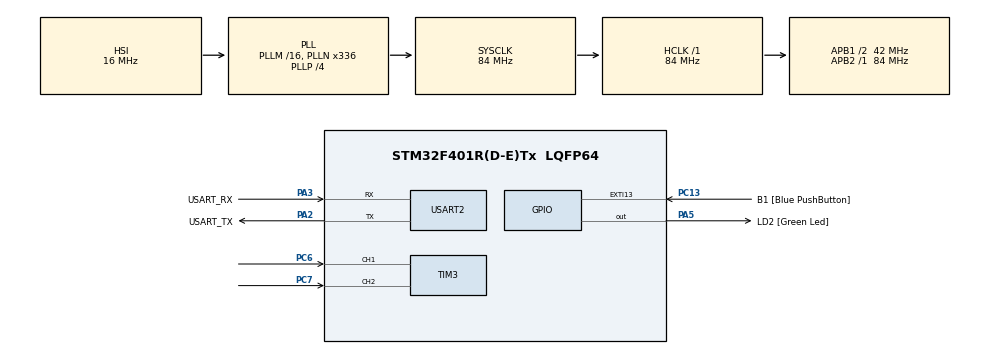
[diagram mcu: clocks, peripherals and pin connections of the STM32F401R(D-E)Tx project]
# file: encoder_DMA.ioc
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Dma.Request0=USART2_TX
Dma.USART2_TX.0.Direction=DMA_MEMORY_TO_PERIPH
Dma.USART2_TX.0.FIFOMode=DMA_FIFOMODE_DISABLE
Dma.USART2_TX.0.Instance=DMA1_Stream6
Dma.USART2_TX.0.MemDataAlignment=DMA_MDATAALIGN_BYTE
Dma.USART2_TX.0.MemInc=DMA_MINC_ENABLE
Dma.USART2_TX.0.Mode=DMA_NORMAL
Dma.USART2_TX.0.PeriphDataAlignment=DMA_PDATAALIGN_BYTE
Dma.USART2_TX.0.PeriphInc=DMA_PINC_DISABLE
Dma.USART2_TX.0.Priority=DMA_PRIORITY_LOW
Mcu.Family=STM32F4
Mcu.Name=STM32F401R(D-E)Tx
Mcu.Package=LQFP64
NVIC.DMA1_Stream6_IRQn=true\:0\:0\:false\:false\:true\:false\:true
NVIC.PriorityGroup=NVIC_PRIORITYGROUP_0
NVIC.TIM2_IRQn=true\:0\:0\:false\:false\:true\:true\:true
NVIC.USART2_IRQn=true\:0\:0\:false\:false\:true\:true\:true
PA13.GPIO_Label=TMS
PA13.Mode=Serial_Wire
PA13.Signal=SYS_JTMS-SWDIO
PA14.GPIO_Label=TCK
PA14.Mode=Serial_Wire
PA14.Signal=SYS_JTCK-SWCLK
PA2.GPIO_Label=USART_TX
PA2.GPIO_Mode=GPIO_MODE_AF_PP
PA2.GPIO_PuPd=GPIO_NOPULL
PA2.GPIO_Speed=GPIO_SPEED_FREQ_LOW
PA2.Mode=Asynchronous
PA2.Signal=USART2_TX
PA3.GPIO_Label=USART_RX
PA3.GPIO_Mode=GPIO_MODE_AF_PP
PA3.GPIO_PuPd=GPIO_NOPULL
PA3.GPIO_Speed=GPIO_SPEED_FREQ_LOW
PA3.Mode=Asynchronous
PA3.Signal=USART2_RX
PA5.GPIO_Label=LD2 [Green Led]
PA5.GPIO_Mode=GPIO_MODE_OUTPUT_PP
PA5.GPIO_PuPd=GPIO_NOPULL
PA5.GPIO_Speed=GPIO_SPEED_FREQ_LOW
PA5.Signal=GPIO_Output
PB3.GPIO_Label=SWO
PB3.Signal=SYS_JTDO-SWO
PC13-ANTI_TAMP.GPIO_Label=B1 [Blue PushButton]
PC13-ANTI_TAMP.GPIO_ModeDefaultEXTI=GPIO_MODE_IT_FALLING
PC13-ANTI_TAMP.GPIO_PuPd=GPIO_NOPULL
PC13-ANTI_TAMP.Signal=GPXTI13
PC14-OSC32_IN.Mode=LSE-External-Oscillator
PC14-OSC32_IN.Signal=RCC_OSC32_IN
PC15-OSC32_OUT.Mode=LSE-External-Oscillator
PC15-OSC32_OUT.Signal=RCC_OSC32_OUT
PC6.Signal=S_TIM3_CH1
PC7.Signal=S_TIM3_CH2
PH0\ -\ OSC_IN.Mode=HSE-External-Clock-Source
PH0\ -\ OSC_IN.Signal=RCC_OSC_IN
PH1\ -\ OSC_OUT.Mode=HSE-External-Clock-Source
PH1\ -\ OSC_OUT.Signal=RCC_OSC_OUT
ProjectManager.HeapSize=0x200
ProjectManager.StackSize=0x400
ProjectManager.TargetToolchain=STM32CubeIDE
RCC.48MHZClocksFreq_Value=48000000
RCC.AHBFreq_Value=84000000
RCC.APB1CLKDivider=RCC_HCLK_DIV2
RCC.APB1Freq_Value=42000000
RCC.APB1TimFreq_Value=84000000
RCC.APB2Freq_Value=84000000
RCC.APB2TimFreq_Value=84000000
RCC.CortexFreq_Value=84000000
RCC.HCLKFreq_Value=84000000
RCC.HSE_VALUE=8000000
RCC.HSI_VALUE=16000000
RCC.PLLN=336
RCC.PLLP=RCC_PLLP_DIV4
RCC.PLLQ=7
RCC.SYSCLKFreq_VALUE=84000000
RCC.SYSCLKSource=RCC_SYSCLKSOURCE_PLLCLK
RCC.VCOOutputFreq_Value=336000000
SH.S_TIM3_CH1.0=TIM3_CH1,Encoder_Interface
SH.S_TIM3_CH2.0=TIM3_CH2,Encoder_Interface
TIM2.Period=10000 - 1
TIM2.Prescaler=8400 - 1
TIM3.ClockDivision=TIM_CLOCKDIVISION_DIV4
TIM3.IC1Filter=15
TIM3.IC1Polarity=TIM_ICPOLARITY_FALLING
TIM3.IC2Filter=15
USART2.VirtualMode=VM_ASYNC
VP_TIM2_VS_ClockSourceINT.Mode=Internal
board=NUCLEO-F401RE

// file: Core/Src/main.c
/* USER CODE BEGIN Header */
/**
  ******************************************************************************
  * @file           : main.c
  * @brief          : Main program body
  ******************************************************************************
  * @attention
  *
  * <h2><center>&copy; Copyright (c) 2021 STMicroelectronics.
  * All rights reserved.</center></h2>
  *
  * This software component is licensed by ST under BSD 3-Clause license,
  * the "License"; You may not use this file except in compliance with the
  * License. You may obtain a copy of the License at:
  *                        opensource.org/licenses/BSD-3-Clause
  *
  ******************************************************************************
  */
/* USER CODE END Header */
#include "main.h"

TIM_HandleTypeDef htim2;
TIM_HandleTypeDef htim3;

UART_HandleTypeDef huart2;
DMA_HandleTypeDef hdma_usart2_tx;

/* USER CODE BEGIN PV */
/*
 * Changing from uint16_t to int16_t solved the issue with the timer overflow
 */
int16_t counts[2] = {0};
int16_t delta = 0;
int16_t rpm = 0;
uint8_t buffer[100];
uint16_t buflen = 0;
/* USER CODE END PV */

void SystemClock_Config(void);
static void MX_GPIO_Init(void);
static void MX_USART2_UART_Init(void);
static void MX_DMA_Init(void);
static void MX_TIM3_Init(void);
static void MX_TIM2_Init(void);

int main(void)
{

  /* MCU Configuration--------------------------------------------------------*/

  /* Reset of all peripherals, Initializes the Flash interface and the Systick. */
  HAL_Init();

  /* Configure the system clock */
  SystemClock_Config();

  /* USER CODE BEGIN SysInit */
  MX_DMA_Init();
  /* USER CODE END SysInit */

  /* Initialize all configured peripherals */
  MX_GPIO_Init();
  MX_USART2_UART_Init();
  MX_TIM3_Init();
  MX_TIM2_Init();
  /* USER CODE BEGIN 2 */
  HAL_TIM_Encoder_Start(&htim3, TIM_CHANNEL_ALL);
  HAL_TIM_Base_Start_IT(&htim2);
  /* USER CODE END 2 */

  /* Infinite loop */
  while (1)
  {

  }
}

void SystemClock_Config(void)
{
  RCC_OscInitTypeDef RCC_OscInitStruct = {0};
  RCC_ClkInitTypeDef RCC_ClkInitStruct = {0};

  /** Configure the main internal regulator output voltage
  */
  __HAL_RCC_PWR_CLK_ENABLE();
  __HAL_PWR_VOLTAGESCALING_CONFIG(PWR_REGULATOR_VOLTAGE_SCALE2);
  /** Initializes the RCC Oscillators according to the specified parameters
  * in the RCC_OscInitTypeDef structure.
  */
  RCC_OscInitStruct.OscillatorType = RCC_OSCILLATORTYPE_HSI;
  RCC_OscInitStruct.HSIState = RCC_HSI_ON;
  RCC_OscInitStruct.HSICalibrationValue = RCC_HSICALIBRATION_DEFAULT;
  RCC_OscInitStruct.PLL.PLLState = RCC_PLL_ON;
  RCC_OscInitStruct.PLL.PLLSource = RCC_PLLSOURCE_HSI;
  RCC_OscInitStruct.PLL.PLLM = 16;
  RCC_OscInitStruct.PLL.PLLN = 336;
  RCC_OscInitStruct.PLL.PLLP = RCC_PLLP_DIV4;
  RCC_OscInitStruct.PLL.PLLQ = 7;
  if (HAL_RCC_OscConfig(&RCC_OscInitStruct) != HAL_OK)
  {
    Error_Handler();
  }
  /** Initializes the CPU, AHB and APB buses clocks
  */
  RCC_ClkInitStruct.ClockType = RCC_CLOCKTYPE_HCLK|RCC_CLOCKTYPE_SYSCLK
                              |RCC_CLOCKTYPE_PCLK1|RCC_CLOCKTYPE_PCLK2;
  RCC_ClkInitStruct.SYSCLKSource = RCC_SYSCLKSOURCE_PLLCLK;
  RCC_ClkInitStruct.AHBCLKDivider = RCC_SYSCLK_DIV1;
  RCC_ClkInitStruct.APB1CLKDivider = RCC_HCLK_DIV2;
  RCC_ClkInitStruct.APB2CLKDivider = RCC_HCLK_DIV1;

  if (HAL_RCC_ClockConfig(&RCC_ClkInitStruct, FLASH_LATENCY_2) != HAL_OK)
  {
    Error_Handler();
  }
}

static void MX_TIM2_Init(void)
{

  TIM_ClockConfigTypeDef sClockSourceConfig = {0};
  TIM_MasterConfigTypeDef sMasterConfig = {0};

  htim2.Instance = TIM2;
  htim2.Init.Prescaler = 8400 - 1;
  htim2.Init.CounterMode = TIM_COUNTERMODE_UP;
  htim2.Init.Period = 10000 - 1;
  htim2.Init.ClockDivision = TIM_CLOCKDIVISION_DIV1;
  htim2.Init.AutoReloadPreload = TIM_AUTORELOAD_PRELOAD_DISABLE;
  if (HAL_TIM_Base_Init(&htim2) != HAL_OK)
  {
    Error_Handler();
  }
  sClockSourceConfig.ClockSource = TIM_CLOCKSOURCE_INTERNAL;
  if (HAL_TIM_ConfigClockSource(&htim2, &sClockSourceConfig) != HAL_OK)
  {
    Error_Handler();
  }
  sMasterConfig.MasterOutputTrigger = TIM_TRGO_RESET;
  sMasterConfig.MasterSlaveMode = TIM_MASTERSLAVEMODE_DISABLE;
  if (HAL_TIMEx_MasterConfigSynchronization(&htim2, &sMasterConfig) != HAL_OK)
  {
    Error_Handler();
  }

}

static void MX_TIM3_Init(void)
{

  TIM_Encoder_InitTypeDef sConfig = {0};
  TIM_MasterConfigTypeDef sMasterConfig = {0};

  htim3.Instance = TIM3;
  htim3.Init.Prescaler = 0;
  htim3.Init.CounterMode = TIM_COUNTERMODE_UP;
  htim3.Init.Period = 65535;
  htim3.Init.ClockDivision = TIM_CLOCKDIVISION_DIV4;
  htim3.Init.AutoReloadPreload = TIM_AUTORELOAD_PRELOAD_DISABLE;
  sConfig.EncoderMode = TIM_ENCODERMODE_TI1;
  sConfig.IC1Polarity = TIM_ICPOLARITY_FALLING;
  sConfig.IC1Selection = TIM_ICSELECTION_DIRECTTI;
  sConfig.IC1Prescaler = TIM_ICPSC_DIV1;
  sConfig.IC1Filter = 15;
  sConfig.IC2Polarity = TIM_ICPOLARITY_RISING;
  sConfig.IC2Selection = TIM_ICSELECTION_DIRECTTI;
  sConfig.IC2Prescaler = TIM_ICPSC_DIV1;
  sConfig.IC2Filter = 15;
  if (HAL_TIM_Encoder_Init(&htim3, &sConfig) != HAL_OK)
  {
    Error_Handler();
  }
  sMasterConfig.MasterOutputTrigger = TIM_TRGO_RESET;
  sMasterConfig.MasterSlaveMode = TIM_MASTERSLAVEMODE_DISABLE;
  if (HAL_TIMEx_MasterConfigSynchronization(&htim3, &sMasterConfig) != HAL_OK)
  {
    Error_Handler();
  }

}

static void MX_USART2_UART_Init(void)
{

  huart2.Instance = USART2;
  huart2.Init.BaudRate = 115200;
  huart2.Init.WordLength = UART_WORDLENGTH_8B;
  huart2.Init.StopBits = UART_STOPBITS_1;
  huart2.Init.Parity = UART_PARITY_NONE;
  huart2.Init.Mode = UART_MODE_TX_RX;
  huart2.Init.HwFlowCtl = UART_HWCONTROL_NONE;
  huart2.Init.OverSampling = UART_OVERSAMPLING_16;
  if (HAL_UART_Init(&huart2) != HAL_OK)
  {
    Error_Handler();
  }

}

static void MX_DMA_Init(void)
{

  /* DMA controller clock enable */
  __HAL_RCC_DMA1_CLK_ENABLE();

  /* DMA interrupt init */
  /* DMA1_Stream6_IRQn interrupt configuration */
  HAL_NVIC_SetPriority(DMA1_Stream6_IRQn, 0, 0);
  HAL_NVIC_EnableIRQ(DMA1_Stream6_IRQn);

}

static void MX_GPIO_Init(void)
{
  GPIO_InitTypeDef GPIO_InitStruct = {0};

  /* GPIO Ports Clock Enable */
  __HAL_RCC_GPIOC_CLK_ENABLE();
  __HAL_RCC_GPIOH_CLK_ENABLE();
  __HAL_RCC_GPIOA_CLK_ENABLE();
  __HAL_RCC_GPIOB_CLK_ENABLE();

  /*Configure GPIO pin Output Level */
  HAL_GPIO_WritePin(LD2_GPIO_Port, LD2_Pin, GPIO_PIN_RESET);

  /*Configure GPIO pin : B1_Pin */
  GPIO_InitStruct.Pin = B1_Pin;
  GPIO_InitStruct.Mode = GPIO_MODE_IT_FALLING;
  GPIO_InitStruct.Pull = GPIO_NOPULL;
  HAL_GPIO_Init(B1_GPIO_Port, &GPIO_InitStruct);

  /*Configure GPIO pin : LD2_Pin */
  GPIO_InitStruct.Pin = LD2_Pin;
  GPIO_InitStruct.Mode = GPIO_MODE_OUTPUT_PP;
  GPIO_InitStruct.Pull = GPIO_NOPULL;
  GPIO_InitStruct.Speed = GPIO_SPEED_FREQ_LOW;
  HAL_GPIO_Init(LD2_GPIO_Port, &GPIO_InitStruct);

}

/* USER CODE BEGIN 4 */
void HAL_TIM_PeriodElapsedCallback(TIM_HandleTypeDef *htim)
{
	if (htim == &htim2){
		counts[1] = __HAL_TIM_GET_COUNTER(&htim3); //alternative: counts[1] = TIM3->CNT;
		delta = counts[1] - counts[0];
		counts[0] = counts[1]; 			//The current value becomes the old value
		rpm = (delta / 24.0) * 60;      //24 is the value obtained with a 360 degree rotation of the encoder

		if (delta < 0) {
			rpm = -rpm;
			buflen = snprintf(buffer, sizeof(buffer), "DMA\r\nDelta: %d\r\nSpeed (counter-clockwise): %d rpms\r\n\r\n", delta, rpm);
		}
		else{
			buflen = snprintf(buffer, sizeof(buffer), "DMA\r\nDelta: %d\r\nSpeed (clockwise): %d rpms\r\n\r\n", delta, rpm);
		}

		HAL_UART_Transmit_DMA(&huart2, buffer, buflen);
	}
}
/* USER CODE END 4 */

void Error_Handler(void)
{
  __disable_irq();
  while (1)
  {
  }
}

/************************ (C) COPYRIGHT STMicroelectronics *****END OF FILE****/
